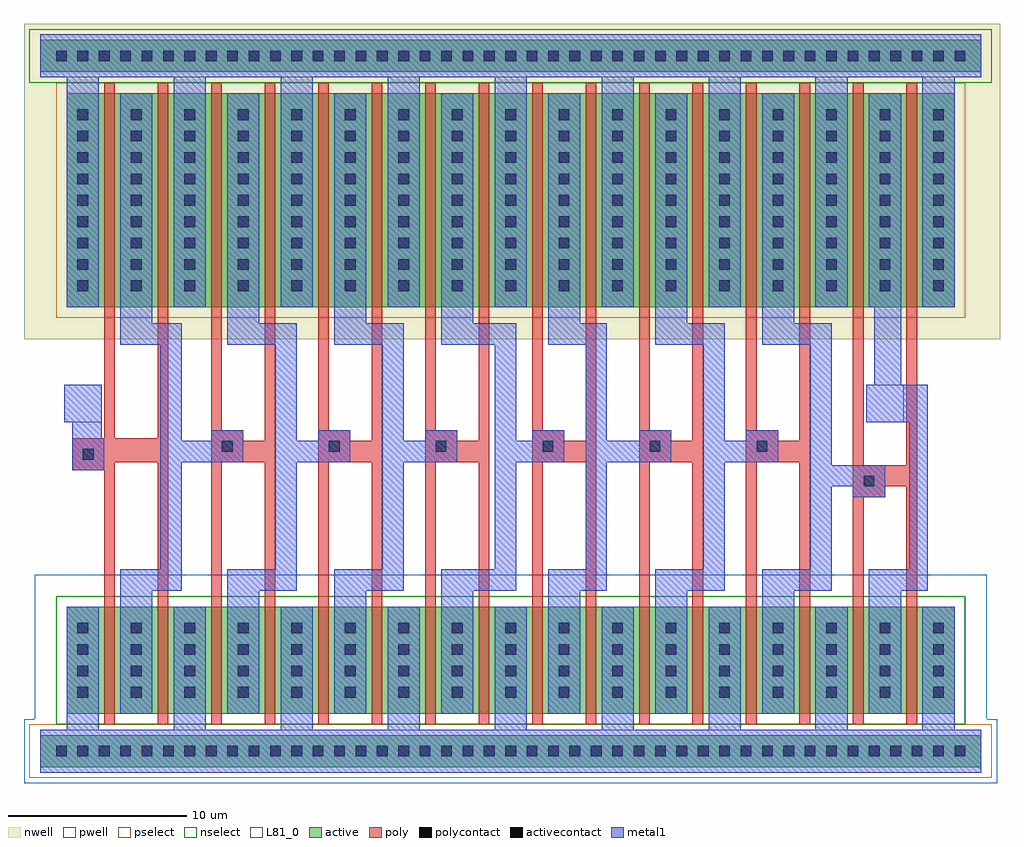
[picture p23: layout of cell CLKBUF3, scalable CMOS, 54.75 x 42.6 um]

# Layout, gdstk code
import gdstk
lib = gdstk.Library(unit=1e-6, precision=1e-09)
def R(c, l, rs):  # rectangles x0, y0, x1, y1
    for r in rs: c.add(gdstk.rectangle(r[:2], r[2:], *l))
def A(c, l, x, y, w, h, nx, ny, dx, dy):  # array of equal rectangles
    R(c, l, [(x+i*dx, y+j*dy, x+i*dx+w, y+j*dy+h) for i in range(nx) for j in range(ny)])
pwell = (41, 0)
nwell = (42, 0)
active = (43, 0)
pselect = (44, 0)
nselect = (45, 0)
poly = (46, 0)
polycontact = (47, 0)
activecontact = (48, 0)
metal1 = (49, 0)
L81_0 = (81, 0)

clkbuf3 = lib.new_cell('CLKBUF3')
R(clkbuf3, pwell, [(-1.8,-1.8,52.8,1.8), (-1.2,1.8,52.2,9.9)])
R(clkbuf3, nwell, [(-1.8,23.1,52.95,40.8)])
R(clkbuf3, active, [(-0.9,-0.9,51.9,0.9), (0.6,2.1,50.4,8.1), (0.6,24.9,50.4,36.9), (-0.9,38.1,51.9,39.9)])
R(clkbuf3, pselect, [(-1.5,-1.5,52.5,1.5), (0,24.3,51,37.5)])
R(clkbuf3, nselect, [(0,1.5,51,8.7), (-1.5,37.5,52.5,40.5)])
A(clkbuf3, poly, 5.7, 1.5, 0.6, 14.7, 13, 1, 3, 0)
A(clkbuf3, poly, 8.7, 16.2, 3.6, 1.2, 6, 1, 6, 0)
A(clkbuf3, poly, 8.7, 17.4, 1.8, 0.6, 6, 1, 6, 0)
A(clkbuf3, poly, 11.7, 17.4, 0.6, 20.1, 6, 1, 6, 0)
A(clkbuf3, poly, 8.7, 18, 0.6, 19.5, 6, 1, 6, 0)
R(clkbuf3, poly, [(2.7,1.5,3.3,15.75), (44.7,1.5,45.3,14.25), (47.7,1.5,48.3,14.85), (44.7,14.25,46.5,14.85), (44.7,14.85,48.3,16.05), (0.9,15.75,3.3,16.2), (44.7,16.05,45.3,37.5), (47.7,16.05,48.3,37.5), (0.9,16.2,6.3,17.55), (2.7,17.55,3.3,37.5), (5.7,17.55,6.3,37.5)])
A(clkbuf3, polycontact, 9.3, 16.8, 0.6, 0.6, 6, 1, 6, 0)
R(clkbuf3, polycontact, [(45.3,14.85,45.9,15.45), (1.5,16.35,2.1,16.95)])
A(clkbuf3, activecontact, 0, -0.3, 0.6, 0.6, 43, 2, 1.2, 39)
A(clkbuf3, activecontact, 1.2, 3, 0.6, 0.6, 17, 4, 3, 1.2)
A(clkbuf3, activecontact, 1.2, 25.8, 0.6, 0.6, 17, 9, 3, 1.2)
A(clkbuf3, metal1, 0.6, 1.2, 1.8, 6.9, 9, 1, 6, 0)
A(clkbuf3, metal1, 3.6, 2.1, 1.8, 6.9, 8, 1, 6, 0)
A(clkbuf3, metal1, 8.7, 17.4, 1.8, 0.6, 6, 1, 6, 0)
A(clkbuf3, metal1, 3.6, 24, 1.8, 12.9, 7, 1, 6, 0)
A(clkbuf3, metal1, 0.6, 24.9, 1.8, 12.9, 9, 1, 6, 0)
R(clkbuf3, metal1, [(-0.9,-1.2,51.9,1.2), (3.6,9,7.05,10.2), (9.6,9,13.5,10.2), (15.6,9,19.5,10.2), (21.6,9,25.8,10.2), (27.6,9,30.9,10.2), (33.6,9,37.5,10.2), (39.6,9,43.5,10.2), (45.6,9,48.9,10.2), (5.85,10.2,7.05,16.2), (12.3,10.2,13.5,16.2), (18.3,10.2,19.5,16.2), (24.6,10.2,25.8,16.2), (29.7,10.2,30.9,16.2), (36.3,10.2,37.5,16.2), (42.3,10.2,43.5,14.85), (47.85,10.2,48.9,18.45), (44.7,14.25,46.5,14.85), (42.3,14.85,46.5,16.05), (0.9,15.75,2.7,17.55), (42.3,16.05,43.5,22.8), (5.85,16.2,10.5,17.4), (12.3,16.2,16.5,17.4), (18.3,16.2,22.5,17.4), (24.6,16.2,28.5,17.4), (29.7,16.2,34.5,17.4), (36.3,16.2,40.5,17.4), (5.85,17.4,7.05,22.8), (12.3,17.4,13.5,22.8), (18.3,17.4,19.5,22.8), (24.6,17.4,25.8,22.8), (29.7,17.4,30.9,22.8), (36.3,17.4,37.5,22.8), (0.9,17.55,2.55,18.45), (0.45,18.45,2.55,20.55), (45.45,18.45,48.9,20.55), (45.9,20.55,47.4,24.9), (3.6,22.8,7.05,24), (9.6,22.8,13.5,24), (15.6,22.8,19.5,24), (21.6,22.8,25.8,24), (27.6,22.8,30.9,24), (33.6,22.8,37.5,24), (39.6,22.8,43.5,24), (45.6,24.9,47.4,36.9), (-0.9,37.8,51.9,40.2)])
R(clkbuf3, L81_0, [(-0.9,-1.2,51.9,1.2), (0.45,18.45,2.55,20.55), (45.45,18.45,47.55,20.55), (-0.9,37.8,51.9,40.2)])

lib.write_gds('CLKBUF3.gds')
